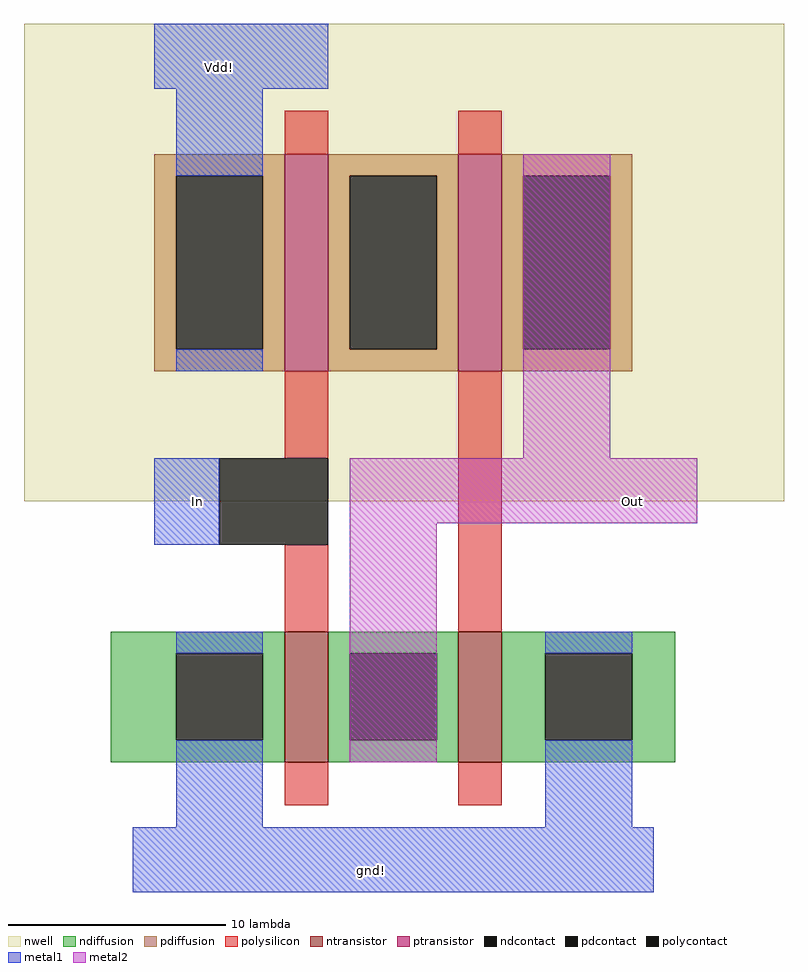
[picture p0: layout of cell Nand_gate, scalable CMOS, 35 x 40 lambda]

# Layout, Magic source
magic
tech scmos
<< nwell >>
rect -3 3 32 25
<< ntransistor >>
rect 9 -9 11 -3
rect 17 -9 19 -3
<< ptransistor >>
rect 9 9 11 19
rect 17 9 19 19
<< ndiffusion >>
rect 1 -4 9 -3
rect 1 -8 4 -4
rect 8 -8 9 -4
rect 1 -9 9 -8
rect 11 -4 17 -3
rect 11 -8 12 -4
rect 16 -8 17 -4
rect 11 -9 17 -8
rect 19 -4 27 -3
rect 19 -8 21 -4
rect 25 -8 27 -4
rect 19 -9 27 -8
<< pdiffusion >>
rect 3 18 9 19
rect 3 10 4 18
rect 8 10 9 18
rect 3 9 9 10
rect 11 18 17 19
rect 11 10 12 18
rect 16 10 17 18
rect 11 9 17 10
rect 19 18 25 19
rect 19 10 20 18
rect 24 10 25 18
rect 19 9 25 10
<< ndcontact >>
rect 4 -8 8 -4
rect 12 -8 16 -4
rect 21 -8 25 -4
<< pdcontact >>
rect 4 10 8 18
rect 12 10 16 18
rect 20 10 24 18
<< polysilicon >>
rect 9 19 11 21
rect 17 19 19 21
rect 9 5 11 9
rect 9 -3 11 1
rect 17 -3 19 9
rect 9 -11 11 -9
rect 17 -11 19 -9
<< polycontact >>
rect 6 1 11 5
<< metal1 >>
rect 3 22 11 25
rect 4 18 8 22
rect 4 9 8 10
rect 3 1 6 5
rect 4 -4 8 -3
rect 21 -4 25 -3
rect 4 -12 8 -8
rect 21 -12 25 -8
rect 2 -15 26 -12
<< metal2 >>
rect 20 5 24 19
rect 12 2 28 5
rect 12 -9 16 2
<< labels >>
rlabel metal1 6 23 6 23 5 Vdd!
rlabel metal2 25 3 25 3 1 Out
rlabel metal1 13 -14 13 -14 1 gnd!
rlabel metal1 5 3 5 3 1 In
<< end >>
